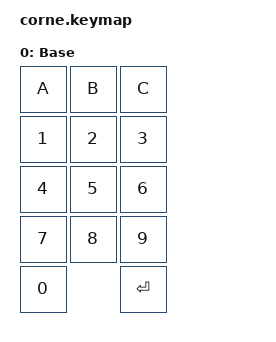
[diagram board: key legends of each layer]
/*
 * Copyright (c) 2020 The ZMK Contributors
 *
 * SPDX-License-Identifier: MIT
 */

#include <behaviors.dtsi>
#include <dt-bindings/zmk/keys.h>
#include <dt-bindings/zmk/bt.h>
#include <dt-bindings/gpio/gpio.h>


// PIN MAP OVERRIDE
// Which pins are active, sectioned by row-column, diode move col2row
&kscan0 { 
    diode-direction = "col2row";
    row-gpios
        = <&pro_micro 1 (GPIO_ACTIVE_HIGH | GPIO_PULL_DOWN) > // row 1
        , <&pro_micro 0 (GPIO_ACTIVE_HIGH | GPIO_PULL_DOWN) > // row 2
        , <&pro_micro 3 (GPIO_ACTIVE_HIGH | GPIO_PULL_DOWN) > // row 3
        , <&pro_micro 5 (GPIO_ACTIVE_HIGH | GPIO_PULL_DOWN) > // row 4
        , <&pro_micro 7 (GPIO_ACTIVE_HIGH | GPIO_PULL_DOWN) > // row 5
        ;
    col-gpios 
        = <&pro_micro 19 (GPIO_ACTIVE_HIGH | GPIO_PULL_DOWN) > // column 1
        , <&pro_micro 18 (GPIO_ACTIVE_HIGH | GPIO_PULL_DOWN) > // column 2
        , <&pro_micro 14 (GPIO_ACTIVE_HIGH | GPIO_PULL_DOWN) > // column 3
        , <&pro_micro 21 (GPIO_ACTIVE_HIGH | GPIO_PULL_DOWN) > // num led
        ;
};


// #include "matrix_transform.h" defines row coulmn like this
// every row is n*256 + col

#define RoCo(R,C) (((r) << 8)+(c))

// Physical layout
&default_transform {
    compatible = "zmk,matrix-transform";
    columns = <3>;
    rows = <5>;
    map = <
    RoCo(0,0) RoCo(0,1) RoCo(0,2) 
    RoCo(1,0) RoCo(1,1) RoCo(1,2) 
    RoCo(2,0) RoCo(2,1) RoCo(2,2) 
    RoCo(3,0) RoCo(3,1) RoCo(3,2) 
    RoCo(4,0)           RoCo(4,2) 
    >;
};




/ {
        keymap {
                compatible = "zmk,keymap";

                default_layer {
			display-name = "Base";
// -----------------------------------------------------------------------------------------
// |  A  |  B  |  C  |
// |  1  |  2  |  3  |
// |  4  |  5  |  6  |
// |  7  |  8  |  9  |
// |  0  |     | ENT |
                        bindings = <
   &kp A   &kp B   &kp C
   &kp 1   &kp 2   &kp 3 
   &kp 4   &kp 5   &kp 6 
   &kp 7   &kp 8   &kp 9  
   &kp 0           &kp RET
                        >;
                };  
	};
};
